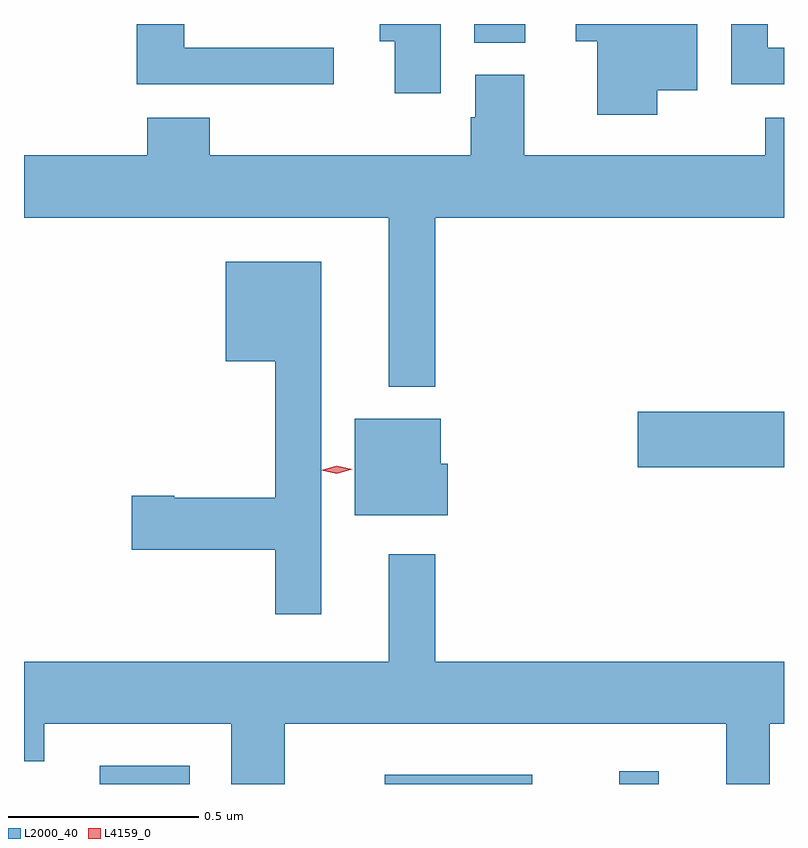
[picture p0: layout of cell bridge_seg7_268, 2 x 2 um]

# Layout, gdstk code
import gdstk
lib = gdstk.Library(unit=1e-6, precision=1e-09)
def R(c, l, rs):  # rectangles x0, y0, x1, y1
    for r in rs: c.add(gdstk.rectangle(r[:2], r[2:], *l))
def P(c, l, *ps):  # polygons
    for p in ps: c.add(gdstk.Polygon(p, *l))
L2000_40 = (2000, 40)
L4159_0 = (4159, 0)

bridge_seg7_268 = lib.new_cell('bridge_seg7_268')
R(bridge_seg7_268, L2000_40, [(160.368,1061.73,160.605,1061.778), (161.118,1061.73,161.506,1061.755), (161.735,1061.73,161.839,1061.764), (161.784,1062.563,162.169,1062.71), (161.354,1063.681,161.488,1063.73)])
P(bridge_seg7_268, L2000_40, [(160.984,1063.668),(160.591,1063.668),(160.591,1063.73),(160.466,1063.73),(160.466,1063.571),(160.984,1063.571)],
  [(161.266,1063.73),(161.105,1063.73),(161.105,1063.685),(161.144,1063.685),(161.144,1063.548),(161.266,1063.548)],
  [(162.169,1063.668),(162.126,1063.668),(162.126,1063.73),(162.03,1063.73),(162.03,1063.572),(162.169,1063.572)],
  [(161.836,1063.556),(161.941,1063.556),(161.941,1063.73),(161.621,1063.73),(161.621,1063.685),(161.678,1063.685),(161.678,1063.491),(161.836,1063.491)],
  [(160.658,1063.483),(160.493,1063.483),(160.493,1063.384),(160.169,1063.384),(160.169,1063.22),(161.129,1063.22),(161.129,1062.776),(161.251,1062.776),(161.251,1063.22),(162.169,1063.22),(162.169,1063.483),(162.119,1063.483),(162.119,1063.384),(161.485,1063.384),(161.485,1063.596),(161.357,1063.596),(161.357,1063.485),(161.345,1063.485),(161.345,1063.384),(160.658,1063.384)],
  [(160.951,1063.105),(160.7,1063.105),(160.7,1062.842),(160.83,1062.842),(160.83,1062.483),(160.564,1062.483),(160.564,1062.488),(160.452,1062.488),(160.452,1062.346),(160.83,1062.346),(160.83,1062.177),(160.951,1062.177)],
  [(161.284,1062.573),(161.266,1062.573),(161.266,1062.691),(161.039,1062.691),(161.039,1062.437),(161.284,1062.437)],
  [(160.855,1061.888),(162.017,1061.888),(162.017,1061.73),(162.131,1061.73),(162.131,1061.888),(162.169,1061.888),(162.169,1062.052),(161.251,1062.052),(161.251,1062.334),(161.129,1062.334),(161.129,1062.052),(160.169,1062.052),(160.169,1061.79),(160.222,1061.79),(160.222,1061.888),(160.715,1061.888),(160.715,1061.73),(160.855,1061.73)])
P(bridge_seg7_268, L4159_0, [(160.992,1062.547),(160.951,1062.556),(160.951,1062.556),(160.951,1062.556),(160.992,1062.567),(161.033,1062.558),(161.033,1062.558),(161.033,1062.558)])

lib.write_gds('bridge_seg7_268.gds')
